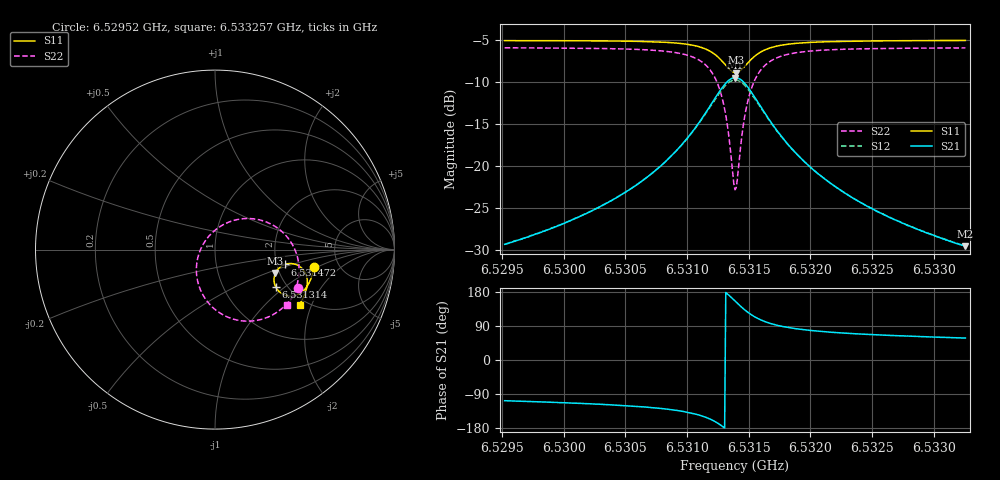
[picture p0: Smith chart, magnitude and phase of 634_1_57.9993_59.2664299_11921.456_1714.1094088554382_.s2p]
#  HZ  S  RI  R  50.00
! Rohde & Schwarz Vector Network Analyzer
! Rohde-Schwarz,ZNB20-2Port,1311601062101988,3.16
! Created: UTC 3/21/2024, 1:18:45 AM
! freq[Hz]  re:S11  im:S11  re:S21  im:S21  re:S12  im:S12  re:S22  im:S22
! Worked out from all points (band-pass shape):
!   401 points, 6.52952 GHz to 6.533257 GHz, reference 50 ohm
!   highest |S21| = -9.44 dB at 6.531388 GHz (marker M1); lowest = -29.6 dB at 6.533257 GHz (marker M2)
!   |S21| within 3 dB of the highest: 6.531203 GHz to 6.531577 GHz (373.4 kHz wide, 0.00572 % of centre)
!   lowest |S11| = -8.8 dB at 6.531398 GHz (marker M3), VSWR 2.13, Z = 95.2 - j28.6 ohm
!   |S11| at or under -10 dB: nowhere
!   |S22| runs from -22.8 to -5.9 dB; largest |S21 - S12| = 0.014
!   S11 on the Smith chart (normalised r, x): 6.52952 GHz: 3.27, -0.91; 6.531314 GHz: 1.75, -0.88; 6.531472 GHz: 2.22, -0.44; 6.533257 GHz: 1.83, -1.64
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6.52952e9  0.5524 -0.0955  -0.0102 -0.0326  -0.011 -0.0323  0.461 -0.2131
6.5301459e9  0.5391 -0.1484  -0.0212 -0.046  -0.0223 -0.0456  0.4251 -0.2721
6.5305102e9  0.5252 -0.1835  -0.0361 -0.0608  -0.0376 -0.0598  0.3865 -0.3163
6.5307718e9  0.5071 -0.2131  -0.0595 -0.078  -0.0618 -0.0762  0.3337 -0.3563
6.530996e9  0.4753 -0.243  -0.1069 -0.098  -0.1098 -0.094  0.2393 -0.3932
6.5311548e9  0.4252 -0.259  -0.185 -0.0997  -0.1867 -0.0917  0.098 -0.386
6.5312482e9  0.3752 -0.2469  -0.2616 -0.0621  -0.259 -0.0509  -0.0269 -0.3079
6.5312856e9  0.3534 -0.2298  -0.2933 -0.0263  -0.2873 -0.015  -0.0733 -0.2415
6.5313136e9  0.3396 -0.2104  -0.3121 0.0108  -0.3033 0.0214  -0.0968 -0.1761
6.5313416e9  0.3306 -0.1859  -0.3216 0.0561  -0.3104 0.0644  -0.1035 -0.1
6.5313696e9  0.3294 -0.1579  -0.3182 0.1056  -0.3053 0.1109  -0.0884 -0.0198
6.5313883e9  0.3335 -0.1392  -0.3076 0.1383  -0.2944 0.1411  -0.0652 0.0311
6.5313977e9  0.337 -0.1304  -0.2999 0.1535  -0.2868 0.1553  -0.0498 0.0549
6.531435e9  0.3593 -0.1002  -0.2564 0.2045  -0.2452 0.2022  0.0303 0.1296
6.5314724e9  0.3892 -0.0827  -0.2022 0.2332  -0.1941 0.229  0.124 0.1674
6.5315378e9  0.4387 -0.0795  -0.1156 0.238  -0.1117 0.2338  0.2689 0.1598
6.5316312e9  0.4829 -0.1029  -0.0407 0.2025  -0.0389 0.2003  0.3899 0.084
6.5317713e9  0.5081 -0.1421  0.00348 0.1483  0.00466 0.1474  0.4541 -0.024
6.5320142e9  0.5142 -0.1893  0.0209 0.0942  0.022 0.0938  0.4681 -0.1344
6.5322945e9  0.5079 -0.2252  0.0225 0.0642  0.0236 0.0637  0.4557 -0.2021
6.5326401e9  0.4959 -0.2584  0.0209 0.0448  0.0219 0.0446  0.4359 -0.253
6.5332566e9  0.4712 -0.306  0.0176 0.0282  0.0183 0.0279  0.4008 -0.3108
